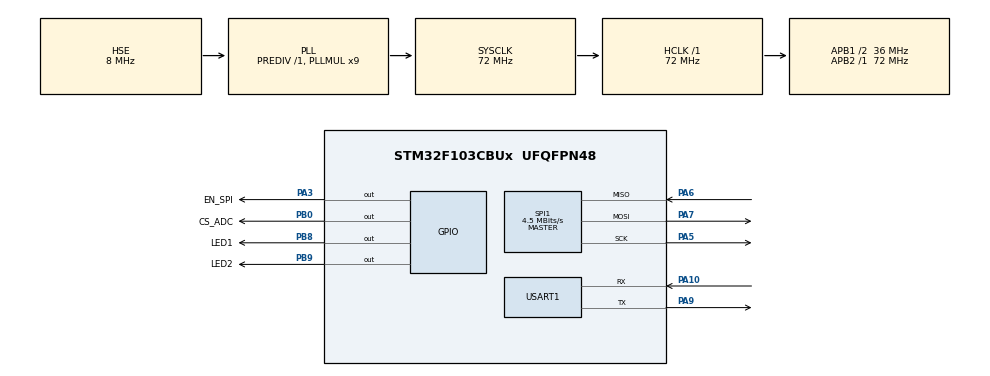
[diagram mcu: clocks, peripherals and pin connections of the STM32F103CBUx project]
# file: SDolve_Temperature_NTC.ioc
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FATFS._MAX_SS=4096
FATFS._USE_LFN=1
Mcu.Family=STM32F1
Mcu.Name=STM32F103CBUx
Mcu.Package=UFQFPN48
NVIC.PriorityGroup=NVIC_PRIORITYGROUP_4
PA10.Mode=Asynchronous
PA10.Signal=USART1_RX
PA13.Mode=Serial_Wire
PA13.Signal=SYS_JTMS-SWDIO
PA14.Mode=Serial_Wire
PA14.Signal=SYS_JTCK-SWCLK
PA3.GPIO_Label=EN_SPI
PA3.GPIO_Speed=GPIO_SPEED_FREQ_LOW
PA3.PinState=GPIO_PIN_SET
PA3.Signal=GPIO_Output
PA5.Mode=Full_Duplex_Master
PA5.Signal=SPI1_SCK
PA6.Mode=Full_Duplex_Master
PA6.Signal=SPI1_MISO
PA7.Mode=Full_Duplex_Master
PA7.Signal=SPI1_MOSI
PA9.Mode=Asynchronous
PA9.Signal=USART1_TX
PB0.GPIO_Label=CS_ADC
PB0.GPIO_Speed=GPIO_SPEED_FREQ_HIGH
PB0.PinState=GPIO_PIN_SET
PB0.Signal=GPIO_Output
PB8.GPIO_Label=LED1
PB8.GPIO_Speed=GPIO_SPEED_FREQ_HIGH
PB8.Signal=GPIO_Output
PB9.GPIO_Label=LED2
PB9.GPIO_Speed=GPIO_SPEED_FREQ_HIGH
PB9.Signal=GPIO_Output
PD0-OSC_IN.Mode=HSE-External-Clock-Source
PD0-OSC_IN.Signal=RCC_OSC_IN
PD1-OSC_OUT.Mode=HSE-External-Clock-Source
PD1-OSC_OUT.Signal=RCC_OSC_OUT
ProjectManager.HeapSize=0x200
ProjectManager.StackSize=0x400
ProjectManager.TargetToolchain=CMake
RCC.AHBFreq_Value=72000000
RCC.APB1CLKDivider=RCC_HCLK_DIV2
RCC.APB1Freq_Value=36000000
RCC.APB1TimFreq_Value=72000000
RCC.APB2Freq_Value=72000000
RCC.APB2TimFreq_Value=72000000
RCC.HCLKFreq_Value=72000000
RCC.PLLMUL=RCC_PLL_MUL9
RCC.PLLSourceVirtual=RCC_PLLSOURCE_HSE
RCC.SYSCLKFreq_VALUE=72000000
RCC.SYSCLKSource=RCC_SYSCLKSOURCE_PLLCLK
RCC.USBFreq_Value=72000000
SPI1.BaudRatePrescaler=SPI_BAUDRATEPRESCALER_16
SPI1.CalculateBaudRate=4.5 MBits/s
SPI1.Direction=SPI_DIRECTION_2LINES
SPI1.Mode=SPI_MODE_MASTER
SPI1.VirtualType=VM_MASTER
USART1.VirtualMode=VM_ASYNC
VP_FATFS_VS_Generic.Mode=User_defined
board=custom

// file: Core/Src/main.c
/* USER CODE BEGIN Header */
/**
  ******************************************************************************
  * @file           : main.c
  * @brief          : NTC 10K temperature measurement via ADS1118 ADC (SPI)
  *
  * Hardware:
  *   ADS1118 AIN0 <- NTC voltage divider (R34 10k + NTC 10k @ 3.3V)
  *   CS_ADC       -> PB0
  *   SPI1 SCK/MISO/MOSI -> PA5/PA6/PA7
  *   USART1       -> temperature output
  ******************************************************************************
  */
/* USER CODE END Header */
#include "main.h"
#include "spi.h"
#include "usart.h"
#include "gpio.h"

/* USER CODE BEGIN Includes */
#include "driver_ads1118.h"
#include "driver_ads1118_interface.h"
#include "ntc_temperature.h"
#include <stdio.h>
#include <string.h>
/* USER CODE END Includes */

void SystemClock_Config(void);

/* USER CODE BEGIN 0 */
extern UART_HandleTypeDef huart1;

static ads1118_handle_t gs_handle;

static void uart_print(const char *s)
{
    HAL_UART_Transmit(&huart1, (uint8_t *)s, (uint16_t)strlen(s), 100);
}

static int ADS1118_Setup(void)
{
    DRIVER_ADS1118_LINK_INIT(&gs_handle, ads1118_handle_t);
    DRIVER_ADS1118_LINK_SPI_INIT(&gs_handle, ads1118_interface_spi_init);
    DRIVER_ADS1118_LINK_SPI_DEINIT(&gs_handle, ads1118_interface_spi_deinit);
    DRIVER_ADS1118_LINK_SPI_TRANSMIT(&gs_handle, ads1118_interface_spi_transmit);
    DRIVER_ADS1118_LINK_DELAY_MS(&gs_handle, ads1118_interface_delay_ms);
    DRIVER_ADS1118_LINK_DEBUG_PRINT(&gs_handle, ads1118_interface_debug_print);

    if (ads1118_init(&gs_handle) != 0) { return 1; }
    if (ads1118_set_channel(&gs_handle, ADS1118_CHANNEL_AIN0_GND) != 0) { return 1; }
    if (ads1118_set_range(&gs_handle, ADS1118_RANGE_4P096V) != 0) { return 1; }
    if (ads1118_set_rate(&gs_handle, ADS1118_RATE_8SPS) != 0) { return 1; }
    if (ads1118_set_mode(&gs_handle, ADS1118_MODE_ADC) != 0) { return 1; }
    if (ads1118_set_dout_pull_up(&gs_handle, ADS1118_BOOL_FALSE) != 0) { return 1; }
    if (ads1118_start_continuous_read(&gs_handle) != 0) { return 1; }
    return 0;
}
/* USER CODE END 0 */

int main(void)
{

  /* MCU Configuration--------------------------------------------------------*/

  /* Reset of all peripherals, Initializes the Flash interface and the Systick. */
  HAL_Init();

  /* Configure the system clock */
  SystemClock_Config();

  /* Initialize all configured peripherals */
  MX_GPIO_Init();
  MX_SPI1_Init();
  MX_USART1_UART_Init();
  /* USER CODE BEGIN 2 */
  HAL_Delay(500);
  ADS1118_Setup();
  /* USER CODE END 2 */

  /* Infinite loop */
  while (1)
  {

    /* USER CODE BEGIN 3 */
    int16_t raw = 0;
    float voltage = 0.0f;
    float temp_c = 0.0f;
    char buf[32];

    if (ads1118_continuous_read(&gs_handle, &raw, &voltage) == 0) {
        if (NTC_VoltageToTemperature(voltage, &temp_c) == 0) {
            snprintf(buf, sizeof(buf), "%.2f C\r\n", (double)temp_c);
            uart_print(buf);
        }
    }

    HAL_GPIO_TogglePin(LED1_GPIO_Port, LED1_Pin);
    HAL_Delay(1000);
  }
  /* USER CODE END 3 */
}

void SystemClock_Config(void)
{
  RCC_OscInitTypeDef RCC_OscInitStruct = {0};
  RCC_ClkInitTypeDef RCC_ClkInitStruct = {0};

  /** Initializes the RCC Oscillators according to the specified parameters
  * in the RCC_OscInitTypeDef structure.
  */
  RCC_OscInitStruct.OscillatorType = RCC_OSCILLATORTYPE_HSE;
  RCC_OscInitStruct.HSEState = RCC_HSE_BYPASS;
  RCC_OscInitStruct.HSEPredivValue = RCC_HSE_PREDIV_DIV1;
  RCC_OscInitStruct.HSIState = RCC_HSI_ON;
  RCC_OscInitStruct.PLL.PLLState = RCC_PLL_ON;
  RCC_OscInitStruct.PLL.PLLSource = RCC_PLLSOURCE_HSE;
  RCC_OscInitStruct.PLL.PLLMUL = RCC_PLL_MUL9;
  if (HAL_RCC_OscConfig(&RCC_OscInitStruct) != HAL_OK)
  {
    Error_Handler();
  }

  /** Initializes the CPU, AHB and APB buses clocks
  */
  RCC_ClkInitStruct.ClockType = RCC_CLOCKTYPE_HCLK|RCC_CLOCKTYPE_SYSCLK
                              |RCC_CLOCKTYPE_PCLK1|RCC_CLOCKTYPE_PCLK2;
  RCC_ClkInitStruct.SYSCLKSource = RCC_SYSCLKSOURCE_PLLCLK;
  RCC_ClkInitStruct.AHBCLKDivider = RCC_SYSCLK_DIV1;
  RCC_ClkInitStruct.APB1CLKDivider = RCC_HCLK_DIV2;
  RCC_ClkInitStruct.APB2CLKDivider = RCC_HCLK_DIV1;

  if (HAL_RCC_ClockConfig(&RCC_ClkInitStruct, FLASH_LATENCY_2) != HAL_OK)
  {
    Error_Handler();
  }
}

void Error_Handler(void)
{
  __disable_irq();
  while (1)
  {
  }
}
